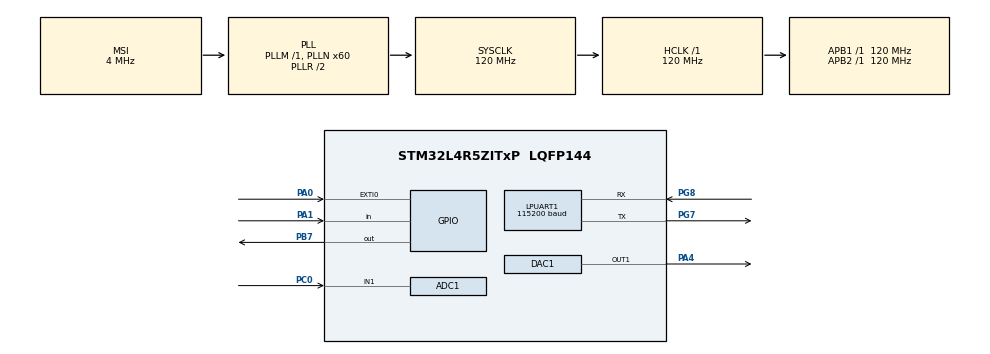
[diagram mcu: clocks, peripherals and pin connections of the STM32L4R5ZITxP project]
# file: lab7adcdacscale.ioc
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ADC1.Channel-0\#ChannelRegularConversion=ADC_CHANNEL_1
ADC1.ClockPrescaler=ADC_CLOCK_ASYNC_DIV32
ADC1.NbrOfConversionFlag=1
ADC1.OffsetNumber-0\#ChannelRegularConversion=ADC_OFFSET_NONE
ADC1.Rank-0\#ChannelRegularConversion=1
ADC1.SamplingTime-0\#ChannelRegularConversion=ADC_SAMPLETIME_640CYCLES_5
ADC1.master=1
LPUART1.BaudRate=115200
LPUART1.WordLength=UART_WORDLENGTH_8B
Mcu.Family=STM32L4
Mcu.Name=STM32L4R5ZITxP
Mcu.Package=LQFP144
NVIC.EXTI0_IRQn=true\:0\:0\:false\:false\:true\:true\:true\:true
NVIC.PriorityGroup=NVIC_PRIORITYGROUP_4
NVIC.TIM2_IRQn=true\:0\:0\:false\:false\:true\:true\:true\:true
PA0.GPIO_PuPd=GPIO_PULLDOWN
PA0.Signal=GPXTI0
PA1.GPIO_PuPd=GPIO_NOPULL
PA1.Signal=GPIO_Input
PA10.Signal=USB_OTG_FS_ID
PA13\ (JTMS/SWDIO).Signal=SYS_JTMS-SWDIO
PA14\ (JTCK/SWCLK).Signal=SYS_JTCK-SWCLK
PA3.Signal=ADCx_IN8
PA4.Signal=COMP_DAC11_group
PA5.Signal=SPI1_SCK
PA6.Signal=SPI1_MISO
PA7.Signal=SPI1_MOSI
PA8.Signal=USB_OTG_FS_SOF
PA9.Signal=USB_OTG_FS_VBUS
PB0.Signal=S_TIM3_CH3
PB1.Signal=ADCx_IN16
PB10.Signal=S_TIM2_CH3
PB12.Signal=SAI2_FS_A
PB13.Signal=SAI2_SCK_A
PB14.Signal=S_TIM15_CH1
PB15.Signal=SAI2_SD_A
PB2.Signal=COMP1_INP
PB3\ (JTDO/TRACESWO).Signal=SPI3_SCK
PB4\ (NJTRST).Signal=SPI3_MISO
PB5.Signal=SPI3_MOSI
PB6.Signal=COMP2_INP
PB7.Signal=GPIO_Output
PB8.Signal=I2C1_SCL
PB9.Signal=I2C1_SDA
PC0.Signal=ADCx_IN1
PC1.Signal=ADCx_IN2
PC10.Signal=SDMMC1_D2
PC11.Signal=SDMMC1_D3
PC12.Signal=SDMMC1_CK
PC14-OSC32_IN\ (PC14).Signal=RCC_OSC32_IN
PC15-OSC32_OUT\ (PC15).Signal=RCC_OSC32_OUT
PC2.Signal=ADCx_IN3
PC3.Signal=ADCx_IN4
PC4.Signal=ADCx_IN13
PC5.Signal=ADCx_IN14
PC6.Signal=SAI2_MCLK_A
PC7.Signal=S_TIM3_CH2
PC8.Signal=SDMMC1_D0
PC9.Signal=SDMMC1_D1
PD0.Signal=CAN1_RX
PD14.Signal=S_TIM4_CH3
PD15.Signal=S_TIM4_CH4
PD2.Signal=SDMMC1_CMD
PD3.Signal=USART2_CTS
PD4.Signal=USART2_RTS
PD5.Signal=USART2_TX
PD6.Signal=USART2_RX
PD8.Signal=USART3_TX
PD9.Signal=USART3_RX
PE0.Signal=S_TIM4_ETR
PE10.Signal=TIM1_CH2N
PE11.Signal=S_TIM1_CH2
PE12.Signal=TIM1_CH3N
PE13.Signal=S_TIM1_CH3
PE14.Signal=TIM1_BKIN2
PE15.Signal=TIM1_BKIN
PE2.Signal=SAI1_MCLK_A
PE3.Signal=SAI1_SD_B
PE7.Signal=S_TIM1_ETR
PE8.Signal=TIM1_CH1N
PE9.Signal=S_TIM1_CH1
PF0.Signal=I2C2_SDA
PF1.Signal=I2C2_SCL
PF2.Signal=I2C2_SMBA
PF7.Signal=SAI1_MCLK_B
PG7.Mode=Asynchronous
PG7.Signal=LPUART1_TX
PG8.Mode=Asynchronous
PG8.Signal=LPUART1_RX
PH0-OSC_IN\ (PH0).Signal=RCC_OSC_IN
PH1-OSC_OUT\ (PH1).Signal=RCC_OSC_OUT
ProjectManager.HeapSize=0x200
ProjectManager.StackSize=0x400
ProjectManager.TargetToolchain=STM32CubeIDE
RCC.ADCFreq_Value=32000000
RCC.AHBFreq_Value=120000000
RCC.APB1Freq_Value=120000000
RCC.APB1TimFreq_Value=120000000
RCC.APB2Freq_Value=120000000
RCC.APB2TimFreq_Value=120000000
RCC.CortexFreq_Value=120000000
RCC.HCLKFreq_Value=120000000
RCC.HSE_VALUE=8000000
RCC.HSI48_VALUE=48000000
RCC.HSI_VALUE=16000000
RCC.LSE_VALUE=32768
RCC.MSI_VALUE=4000000
RCC.PLLN=60
RCC.PLLSAI1N=16
RCC.SYSCLKFreq_VALUE=120000000
RCC.SYSCLKSource=RCC_SYSCLKSOURCE_PLLCLK
RCC.USBFreq_Value=32000000
RCC.VCOOutputFreq_Value=240000000
SH.ADCx_IN1.0=ADC1_IN1,IN1-Single-Ended
SH.ADCx_IN13.0=ADC1_IN13
SH.ADCx_IN14.0=ADC1_IN14
SH.ADCx_IN16.0=ADC1_IN16
SH.ADCx_IN2.0=ADC1_IN2
SH.ADCx_IN3.0=ADC1_IN3
SH.ADCx_IN4.0=ADC1_IN4
SH.ADCx_IN8.0=ADC1_IN8
SH.COMP_DAC11_group.0=DAC1_OUT1,DAC_OUT1
SH.S_TIM15_CH1.0=TIM15_CH1
SH.S_TIM1_CH1.0=TIM1_CH1
SH.S_TIM1_CH2.0=TIM1_CH2
SH.S_TIM1_CH3.0=TIM1_CH3
SH.S_TIM1_ETR.0=TIM1_ETR
SH.S_TIM2_CH3.0=TIM2_CH3
SH.S_TIM3_CH2.0=TIM3_CH2
SH.S_TIM3_CH3.0=TIM3_CH3
SH.S_TIM4_CH3.0=TIM4_CH3
SH.S_TIM4_CH4.0=TIM4_CH4
SH.S_TIM4_ETR.0=TIM4_ETR
TIM2.Period=90
TIM2.Prescaler=12
VP_TIM2_VS_ClockSourceINT.Mode=Internal
board=NUCLEO-L4R5ZI-P

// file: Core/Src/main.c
/* USER CODE BEGIN Header */
/**
  ******************************************************************************
  * @file           : main.c
  * @brief          : Main program body
  ******************************************************************************
  * @attention
  *
  * Copyright (c) 2022 STMicroelectronics.
  * All rights reserved.
  *
  * This software is licensed under terms that can be found in the LICENSE file
  * in the root directory of this software component.
  * If no LICENSE file comes with this software, it is provided AS-IS.
  *
  ******************************************************************************
  */
/* USER CODE END Header */
#include "main.h"

/* USER CODE BEGIN Includes */
#include <stdio.h>
#include <stdint.h>
#include <math.h>
/* USER CODE END Includes */

/* USER CODE BEGIN PM */
#define TIM2_PRSC 12
//look up table for sin wave generation
#define LUT_SIZE 100
uint16_t SIN_LUT[LUT_SIZE];
const double AMP_PCENT = 70.0; //amplitude of sine wave (0- 100)
/* USER CODE END PM */

ADC_HandleTypeDef hadc1;

DAC_HandleTypeDef hdac1;

UART_HandleTypeDef hlpuart1;

TIM_HandleTypeDef htim2;

/* USER CODE BEGIN PV */
#define C  523.25
#define B  493.88
#define Bflat  466.16
#define A  440.0
#define Aflat  415.30
#define G  391.99
#define Gflat  369.99
#define F  349.23
#define E  329.62
#define Eflat  311.12
#define D  293.66
#define Dflat  277.18

/* USER CODE END PV */

void SystemClock_Config(void);
static void MX_GPIO_Init(void);
static void MX_ADC1_Init(void);
static void MX_DAC1_Init(void);
static void MX_LPUART1_UART_Init(void);
static void MX_TIM2_Init(void);

/* USER CODE BEGIN 0 */

typedef struct {
	float freq;
	uint16_t length;
} Note;

void fill_LUT(void)
{
	//creates a sine wave look up table centered at VREF/2
	double HALF_AMP = (AMP_PCENT/ 100.0) * 2047.0;//calculates a half amplitude given the desired volume
	uint16_t i = 0;
	for(; i < LUT_SIZE; ++i)
	{
		SIN_LUT[i] = (uint16_t) ( (sin( ( (double) i) * 360.0 / ((double) LUT_SIZE)  * 3.14159265/180.0) * HALF_AMP) + 2048.0);
	}
}

//sets compare value (period) for tim2
void setComp(uint32_t newComp)
{
	HAL_TIM_Base_Stop(&htim2);
	htim2.Instance = TIM2;
	htim2.Init.Prescaler = TIM2_PRSC;
	htim2.Init.CounterMode = TIM_COUNTERMODE_UP;
	htim2.Init.Period = newComp;
	htim2.Init.ClockDivision = TIM_CLOCKDIVISION_DIV1;
	htim2.Init.AutoReloadPreload = TIM_AUTORELOAD_PRELOAD_DISABLE;
	if (HAL_TIM_Base_Init(&htim2) != HAL_OK)
	{
		Error_Handler();
	}

	HAL_TIM_Base_Start(&htim2);
}

//frequency = tim2_clk/tim2_prsclr/LUT_SIZE/tim2_prd
//desired tim2_prd = tm2_clk/tim2_prsclr/LUT_SIZE/frequency
//tim2_clk = 120 MHz, tim2_prsclr = 12, LUT_SIZE = 100
void changeNote(float frequency)
{
	if(frequency == 0.0){
		setComp((uint32_t)(frequency));
	}
	else{
		setComp((uint32_t) (120000000.0f/TIM2_PRSC/((float)LUT_SIZE)/frequency) );
	}

}

//used to iterate through the LUT
void TIM2_ISR()
{
	static uint32_t index = 0;
	HAL_DAC_SetValue(&hdac1, DAC_CHANNEL_1, DAC_ALIGN_12B_R, SIN_LUT[index]);
	++index;
	if(index > LUT_SIZE) index = 0;
}

//size 95
Note introSong [] = {
	{G, 400}, {G, 400}, {0, 200}, {G, 100}, {G, 100}, {G, 400}, {G, 400}, {G, 400},
	{F, 100}, {F, 100}, {F, 100}, {F, 100}, {F, 100}, {Gflat, 100}, {G, 400}, {G, 400},
	{0, 200}, {G, 100}, {G, 100}, {G, 400}, {G, 400}, {G, 400},
	{F, 100}, {F, 100}, {F, 100}, {F, 100}, {F, 100}, {Gflat, 100},
	{G, 800}, {B, 200}, {D*2, 800}, {0, 800},
	{A, 200}, {F*2, 800}, {E*2, 100}, {Eflat*2, 100}, {D*2, 800},
	{F, 800}, {E, 100}, {Eflat, 100}, {D, 800}, {C/2, 300}, {B/2, 300}, {C/2, 300},
	{G, 800}, {B, 200}, {D*2, 800}, {0, 800},
	{C, 200}, {F*2, 300}, {E*2, 300}, {F*2, 300}, {G*2, 800}, {Bflat*2, 200}, {G*2, 800},
	{0, 1200}, {G*2, 400}, {A*2, 400}, {Bflat*2, 800}, {F*2, 200}, {F*2, 800}, {0, 800},
	{Bflat*2, 400}, {B*2, 400}, {C*2, 800}, {G*2, 200}, {G*2, 800}, {0, 800},
	{C*2, 400}, {Dflat*4, 400}, {D*4, 400}, {D*4, 400}, {0, 400},
	{D*4, 100}, {D*4, 100}, {D*4, 400}, {D*4, 400}, {D*4, 400},
	{C*2, 100}, {C*2, 100}, {C*2, 100}, {C*2, 100}, {C*2, 100},
	{Dflat*4, 100}, {D*4, 400}, {D*4, 400}, {0, 400},
	{D*4, 100}, {D*4, 100}, {D*4, 400}, {D*4, 400}, {D*4, 400},
	{C*2, 100}, {C*2, 100}, {C*2, 100}, {C*2, 100}, {B*2, 100}, {A*2, 100}, {G*2, 800},
};

Note pokeCenter[] = {
		{E, 400}, {E, 400}, {E, 200}, {C/2, 200}, {G*2, 400},
};

Note empty[] = { {0,50} };

uint8_t currentSong = 0;
uint8_t change = 0;

void playNote(float freq, uint16_t length){
	changeNote(freq/1.5);
	HAL_Delay(length);
	changeNote(0);
	HAL_Delay(50);
}

void playSong(Note *buf, uint32_t buf_size){
	HAL_Delay(1000);
	for(int i = 0; i < buf_size; ++i){
		playNote(buf[i].freq, buf[i].length);
		if(change == 1){
			change = 0;
			return;
		}
	}
}

void HAL_GPIO_EXTI_Callback(uint16_t pin){
	if(currentSong == 0){
		currentSong = 1;
		change = 1;
	}
}
/* USER CODE END 0 */

int main(void)
{

  /* MCU Configuration--------------------------------------------------------*/

  /* Reset of all peripherals, Initializes the Flash interface and the Systick. */
  HAL_Init();

  /* Configure the system clock */
  SystemClock_Config();

  /* Initialize all configured peripherals */
  MX_GPIO_Init();
  MX_ADC1_Init();
  MX_DAC1_Init();
  MX_LPUART1_UART_Init();
  MX_TIM2_Init();
  /* USER CODE BEGIN 2 */
  fill_LUT();

    HAL_DAC_SetValue(&hdac1, DAC_CHANNEL_1, DAC_ALIGN_12B_R, 0x0);
    HAL_DAC_Start(&hdac1, DAC_CHANNEL_1);

    HAL_TIM_Base_Start_IT(&htim2);
  /* USER CODE END 2 */

  /* Infinite loop */
  /* USER CODE BEGIN WHILE */

    changeNote(0);

  while (1)
  {

	  if(HAL_GPIO_ReadPin(GPIOA, GPIO_PIN_1) == 1){
		  if(currentSong == 1){
			  playSong(pokeCenter, 5);
			  currentSong = 0;
			  change = 0;
		  }
		  else{
			  playSong(introSong, sizeof(introSong)/sizeof(introSong[0]));
		  }

	  }
	  else{
		  playSong(empty, 1);
		  currentSong = 0;
	  }

    /* USER CODE END WHILE */

  }
}

void SystemClock_Config(void)
{
  RCC_OscInitTypeDef RCC_OscInitStruct = {0};
  RCC_ClkInitTypeDef RCC_ClkInitStruct = {0};

  /** Configure the main internal regulator output voltage
  */
  if (HAL_PWREx_ControlVoltageScaling(PWR_REGULATOR_VOLTAGE_SCALE1_BOOST) != HAL_OK)
  {
    Error_Handler();
  }

  /** Initializes the RCC Oscillators according to the specified parameters
  * in the RCC_OscInitTypeDef structure.
  */
  RCC_OscInitStruct.OscillatorType = RCC_OSCILLATORTYPE_MSI;
  RCC_OscInitStruct.MSIState = RCC_MSI_ON;
  RCC_OscInitStruct.MSICalibrationValue = 0;
  RCC_OscInitStruct.MSIClockRange = RCC_MSIRANGE_6;
  RCC_OscInitStruct.PLL.PLLState = RCC_PLL_ON;
  RCC_OscInitStruct.PLL.PLLSource = RCC_PLLSOURCE_MSI;
  RCC_OscInitStruct.PLL.PLLM = 1;
  RCC_OscInitStruct.PLL.PLLN = 60;
  RCC_OscInitStruct.PLL.PLLP = RCC_PLLP_DIV2;
  RCC_OscInitStruct.PLL.PLLQ = RCC_PLLQ_DIV2;
  RCC_OscInitStruct.PLL.PLLR = RCC_PLLR_DIV2;
  if (HAL_RCC_OscConfig(&RCC_OscInitStruct) != HAL_OK)
  {
    Error_Handler();
  }

  /** Initializes the CPU, AHB and APB buses clocks
  */
  RCC_ClkInitStruct.ClockType = RCC_CLOCKTYPE_HCLK|RCC_CLOCKTYPE_SYSCLK
                              |RCC_CLOCKTYPE_PCLK1|RCC_CLOCKTYPE_PCLK2;
  RCC_ClkInitStruct.SYSCLKSource = RCC_SYSCLKSOURCE_PLLCLK;
  RCC_ClkInitStruct.AHBCLKDivider = RCC_SYSCLK_DIV1;
  RCC_ClkInitStruct.APB1CLKDivider = RCC_HCLK_DIV1;
  RCC_ClkInitStruct.APB2CLKDivider = RCC_HCLK_DIV1;

  if (HAL_RCC_ClockConfig(&RCC_ClkInitStruct, FLASH_LATENCY_5) != HAL_OK)
  {
    Error_Handler();
  }
}

static void MX_ADC1_Init(void)
{

  ADC_ChannelConfTypeDef sConfig = {0};

  /** Common config
  */
  hadc1.Instance = ADC1;
  hadc1.Init.ClockPrescaler = ADC_CLOCK_ASYNC_DIV32;
  hadc1.Init.Resolution = ADC_RESOLUTION_12B;
  hadc1.Init.DataAlign = ADC_DATAALIGN_RIGHT;
  hadc1.Init.ScanConvMode = ADC_SCAN_DISABLE;
  hadc1.Init.EOCSelection = ADC_EOC_SINGLE_CONV;
  hadc1.Init.LowPowerAutoWait = DISABLE;
  hadc1.Init.ContinuousConvMode = DISABLE;
  hadc1.Init.NbrOfConversion = 1;
  hadc1.Init.DiscontinuousConvMode = DISABLE;
  hadc1.Init.ExternalTrigConv = ADC_SOFTWARE_START;
  hadc1.Init.ExternalTrigConvEdge = ADC_EXTERNALTRIGCONVEDGE_NONE;
  hadc1.Init.DMAContinuousRequests = DISABLE;
  hadc1.Init.Overrun = ADC_OVR_DATA_PRESERVED;
  hadc1.Init.OversamplingMode = DISABLE;
  if (HAL_ADC_Init(&hadc1) != HAL_OK)
  {
    Error_Handler();
  }

  /** Configure Regular Channel
  */
  sConfig.Channel = ADC_CHANNEL_1;
  sConfig.Rank = ADC_REGULAR_RANK_1;
  sConfig.SamplingTime = ADC_SAMPLETIME_640CYCLES_5;
  sConfig.SingleDiff = ADC_SINGLE_ENDED;
  sConfig.OffsetNumber = ADC_OFFSET_NONE;
  sConfig.Offset = 0;
  if (HAL_ADC_ConfigChannel(&hadc1, &sConfig) != HAL_OK)
  {
    Error_Handler();
  }

}

static void MX_DAC1_Init(void)
{

  DAC_ChannelConfTypeDef sConfig = {0};

  /** DAC Initialization
  */
  hdac1.Instance = DAC1;
  if (HAL_DAC_Init(&hdac1) != HAL_OK)
  {
    Error_Handler();
  }

  /** DAC channel OUT1 config
  */
  sConfig.DAC_SampleAndHold = DAC_SAMPLEANDHOLD_DISABLE;
  sConfig.DAC_Trigger = DAC_TRIGGER_NONE;
  sConfig.DAC_HighFrequency = DAC_HIGH_FREQUENCY_INTERFACE_MODE_ABOVE_80MHZ;
  sConfig.DAC_OutputBuffer = DAC_OUTPUTBUFFER_ENABLE;
  sConfig.DAC_ConnectOnChipPeripheral = DAC_CHIPCONNECT_DISABLE;
  sConfig.DAC_UserTrimming = DAC_TRIMMING_FACTORY;
  if (HAL_DAC_ConfigChannel(&hdac1, &sConfig, DAC_CHANNEL_1) != HAL_OK)
  {
    Error_Handler();
  }

}

static void MX_LPUART1_UART_Init(void)
{

  hlpuart1.Instance = LPUART1;
  hlpuart1.Init.BaudRate = 115200;
  hlpuart1.Init.WordLength = UART_WORDLENGTH_8B;
  hlpuart1.Init.StopBits = UART_STOPBITS_1;
  hlpuart1.Init.Parity = UART_PARITY_NONE;
  hlpuart1.Init.Mode = UART_MODE_TX_RX;
  hlpuart1.Init.HwFlowCtl = UART_HWCONTROL_NONE;
  hlpuart1.Init.OneBitSampling = UART_ONE_BIT_SAMPLE_DISABLE;
  hlpuart1.Init.ClockPrescaler = UART_PRESCALER_DIV1;
  hlpuart1.AdvancedInit.AdvFeatureInit = UART_ADVFEATURE_NO_INIT;
  hlpuart1.FifoMode = UART_FIFOMODE_DISABLE;
  if (HAL_UART_Init(&hlpuart1) != HAL_OK)
  {
    Error_Handler();
  }
  if (HAL_UARTEx_SetTxFifoThreshold(&hlpuart1, UART_TXFIFO_THRESHOLD_1_8) != HAL_OK)
  {
    Error_Handler();
  }
  if (HAL_UARTEx_SetRxFifoThreshold(&hlpuart1, UART_RXFIFO_THRESHOLD_1_8) != HAL_OK)
  {
    Error_Handler();
  }
  if (HAL_UARTEx_DisableFifoMode(&hlpuart1) != HAL_OK)
  {
    Error_Handler();
  }

}

static void MX_TIM2_Init(void)
{

  TIM_ClockConfigTypeDef sClockSourceConfig = {0};
  TIM_MasterConfigTypeDef sMasterConfig = {0};

  htim2.Instance = TIM2;
  htim2.Init.Prescaler = 12;
  htim2.Init.CounterMode = TIM_COUNTERMODE_UP;
  htim2.Init.Period = 90;
  htim2.Init.ClockDivision = TIM_CLOCKDIVISION_DIV1;
  htim2.Init.AutoReloadPreload = TIM_AUTORELOAD_PRELOAD_DISABLE;
  if (HAL_TIM_Base_Init(&htim2) != HAL_OK)
  {
    Error_Handler();
  }
  sClockSourceConfig.ClockSource = TIM_CLOCKSOURCE_INTERNAL;
  if (HAL_TIM_ConfigClockSource(&htim2, &sClockSourceConfig) != HAL_OK)
  {
    Error_Handler();
  }
  sMasterConfig.MasterOutputTrigger = TIM_TRGO_RESET;
  sMasterConfig.MasterSlaveMode = TIM_MASTERSLAVEMODE_DISABLE;
  if (HAL_TIMEx_MasterConfigSynchronization(&htim2, &sMasterConfig) != HAL_OK)
  {
    Error_Handler();
  }

}

static void MX_GPIO_Init(void)
{
  GPIO_InitTypeDef GPIO_InitStruct = {0};

  /* GPIO Ports Clock Enable */
  __HAL_RCC_GPIOE_CLK_ENABLE();
  __HAL_RCC_GPIOC_CLK_ENABLE();
  __HAL_RCC_GPIOF_CLK_ENABLE();
  __HAL_RCC_GPIOH_CLK_ENABLE();
  __HAL_RCC_GPIOA_CLK_ENABLE();
  __HAL_RCC_GPIOB_CLK_ENABLE();
  __HAL_RCC_GPIOD_CLK_ENABLE();
  __HAL_RCC_GPIOG_CLK_ENABLE();
  HAL_PWREx_EnableVddIO2();

  /*Configure GPIO pin Output Level */
  HAL_GPIO_WritePin(GPIOB, GPIO_PIN_7, GPIO_PIN_RESET);

  /*Configure GPIO pins : PE2 PE3 */
  GPIO_InitStruct.Pin = GPIO_PIN_2|GPIO_PIN_3;
  GPIO_InitStruct.Mode = GPIO_MODE_AF_PP;
  GPIO_InitStruct.Pull = GPIO_NOPULL;
  GPIO_InitStruct.Speed = GPIO_SPEED_FREQ_LOW;
  GPIO_InitStruct.Alternate = GPIO_AF13_SAI1;
  HAL_GPIO_Init(GPIOE, &GPIO_InitStruct);

  /*Configure GPIO pins : PF0 PF1 PF2 */
  GPIO_InitStruct.Pin = GPIO_PIN_0|GPIO_PIN_1|GPIO_PIN_2;
  GPIO_InitStruct.Mode = GPIO_MODE_AF_OD;
  GPIO_InitStruct.Pull = GPIO_NOPULL;
  GPIO_InitStruct.Speed = GPIO_SPEED_FREQ_VERY_HIGH;
  GPIO_InitStruct.Alternate = GPIO_AF4_I2C2;
  HAL_GPIO_Init(GPIOF, &GPIO_InitStruct);

  /*Configure GPIO pin : PF7 */
  GPIO_InitStruct.Pin = GPIO_PIN_7;
  GPIO_InitStruct.Mode = GPIO_MODE_AF_PP;
  GPIO_InitStruct.Pull = GPIO_NOPULL;
  GPIO_InitStruct.Speed = GPIO_SPEED_FREQ_LOW;
  GPIO_InitStruct.Alternate = GPIO_AF13_SAI1;
  HAL_GPIO_Init(GPIOF, &GPIO_InitStruct);

  /*Configure GPIO pin : PA0 */
  GPIO_InitStruct.Pin = GPIO_PIN_0;
  GPIO_InitStruct.Mode = GPIO_MODE_IT_RISING;
  GPIO_InitStruct.Pull = GPIO_PULLDOWN;
  HAL_GPIO_Init(GPIOA, &GPIO_InitStruct);

  /*Configure GPIO pin : PA1 */
  GPIO_InitStruct.Pin = GPIO_PIN_1;
  GPIO_InitStruct.Mode = GPIO_MODE_INPUT;
  GPIO_InitStruct.Pull = GPIO_NOPULL;
  HAL_GPIO_Init(GPIOA, &GPIO_InitStruct);

  /*Configure GPIO pins : PA5 PA6 PA7 */
  GPIO_InitStruct.Pin = GPIO_PIN_5|GPIO_PIN_6|GPIO_PIN_7;
  GPIO_InitStruct.Mode = GPIO_MODE_AF_PP;
  GPIO_InitStruct.Pull = GPIO_NOPULL;
  GPIO_InitStruct.Speed = GPIO_SPEED_FREQ_VERY_HIGH;
  GPIO_InitStruct.Alternate = GPIO_AF5_SPI1;
  HAL_GPIO_Init(GPIOA, &GPIO_InitStruct);

  /*Configure GPIO pin : PB0 */
  GPIO_InitStruct.Pin = GPIO_PIN_0;
  GPIO_InitStruct.Mode = GPIO_MODE_AF_PP;
  GPIO_InitStruct.Pull = GPIO_NOPULL;
  GPIO_InitStruct.Speed = GPIO_SPEED_FREQ_LOW;
  GPIO_InitStruct.Alternate = GPIO_AF2_TIM3;
  HAL_GPIO_Init(GPIOB, &GPIO_InitStruct);

  /*Configure GPIO pins : PB2 PB6 */
  GPIO_InitStruct.Pin = GPIO_PIN_2|GPIO_PIN_6;
  GPIO_InitStruct.Mode = GPIO_MODE_ANALOG;
  GPIO_InitStruct.Pull = GPIO_NOPULL;
  HAL_GPIO_Init(GPIOB, &GPIO_InitStruct);

  /*Configure GPIO pins : PE7 PE8 PE9 PE10
                           PE11 PE12 PE13 */
  GPIO_InitStruct.Pin = GPIO_PIN_7|GPIO_PIN_8|GPIO_PIN_9|GPIO_PIN_10
                          |GPIO_PIN_11|GPIO_PIN_12|GPIO_PIN_13;
  GPIO_InitStruct.Mode = GPIO_MODE_AF_PP;
  GPIO_InitStruct.Pull = GPIO_NOPULL;
  GPIO_InitStruct.Speed = GPIO_SPEED_FREQ_LOW;
  GPIO_InitStruct.Alternate = GPIO_AF1_TIM1;
  HAL_GPIO_Init(GPIOE, &GPIO_InitStruct);

  /*Configure GPIO pins : PE14 PE15 */
  GPIO_InitStruct.Pin = GPIO_PIN_14|GPIO_PIN_15;
  GPIO_InitStruct.Mode = GPIO_MODE_AF_PP;
  GPIO_InitStruct.Pull = GPIO_NOPULL;
  GPIO_InitStruct.Speed = GPIO_SPEED_FREQ_LOW;
  GPIO_InitStruct.Alternate = GPIO_AF3_TIM1_COMP1;
  HAL_GPIO_Init(GPIOE, &GPIO_InitStruct);

  /*Configure GPIO pins : PB12 PB13 PB15 */
  GPIO_InitStruct.Pin = GPIO_PIN_12|GPIO_PIN_13|GPIO_PIN_15;
  GPIO_InitStruct.Mode = GPIO_MODE_AF_PP;
  GPIO_InitStruct.Pull = GPIO_NOPULL;
  GPIO_InitStruct.Speed = GPIO_SPEED_FREQ_LOW;
  GPIO_InitStruct.Alternate = GPIO_AF13_SAI2;
  HAL_GPIO_Init(GPIOB, &GPIO_InitStruct);

  /*Configure GPIO pin : PB14 */
  GPIO_InitStruct.Pin = GPIO_PIN_14;
  GPIO_InitStruct.Mode = GPIO_MODE_AF_PP;
  GPIO_InitStruct.Pull = GPIO_NOPULL;
  GPIO_InitStruct.Speed = GPIO_SPEED_FREQ_LOW;
  GPIO_InitStruct.Alternate = GPIO_AF14_TIM15;
  HAL_GPIO_Init(GPIOB, &GPIO_InitStruct);

  /*Configure GPIO pins : PD8 PD9 */
  GPIO_InitStruct.Pin = GPIO_PIN_8|GPIO_PIN_9;
  GPIO_InitStruct.Mode = GPIO_MODE_AF_PP;
  GPIO_InitStruct.Pull = GPIO_NOPULL;
  GPIO_InitStruct.Speed = GPIO_SPEED_FREQ_VERY_HIGH;
  GPIO_InitStruct.Alternate = GPIO_AF7_USART3;
  HAL_GPIO_Init(GPIOD, &GPIO_InitStruct);

  /*Configure GPIO pins : PD14 PD15 */
  GPIO_InitStruct.Pin = GPIO_PIN_14|GPIO_PIN_15;
  GPIO_InitStruct.Mode = GPIO_MODE_AF_PP;
  GPIO_InitStruct.Pull = GPIO_NOPULL;
  GPIO_InitStruct.Speed = GPIO_SPEED_FREQ_LOW;
  GPIO_InitStruct.Alternate = GPIO_AF2_TIM4;
  HAL_GPIO_Init(GPIOD, &GPIO_InitStruct);

  /*Configure GPIO pin : PC6 */
  GPIO_InitStruct.Pin = GPIO_PIN_6;
  GPIO_InitStruct.Mode = GPIO_MODE_AF_PP;
  GPIO_InitStruct.Pull = GPIO_NOPULL;
  GPIO_InitStruct.Speed = GPIO_SPEED_FREQ_LOW;
  GPIO_InitStruct.Alternate = GPIO_AF13_SAI2;
  HAL_GPIO_Init(GPIOC, &GPIO_InitStruct);

  /*Configure GPIO pin : PC7 */
  GPIO_InitStruct.Pin = GPIO_PIN_7;
  GPIO_InitStruct.Mode = GPIO_MODE_AF_PP;
  GPIO_InitStruct.Pull = GPIO_NOPULL;
  GPIO_InitStruct.Speed = GPIO_SPEED_FREQ_LOW;
  GPIO_InitStruct.Alternate = GPIO_AF2_TIM3;
  HAL_GPIO_Init(GPIOC, &GPIO_InitStruct);

  /*Configure GPIO pins : PC8 PC9 PC10 PC11
                           PC12 */
  GPIO_InitStruct.Pin = GPIO_PIN_8|GPIO_PIN_9|GPIO_PIN_10|GPIO_PIN_11
                          |GPIO_PIN_12;
  GPIO_InitStruct.Mode = GPIO_MODE_AF_PP;
  GPIO_InitStruct.Pull = GPIO_NOPULL;
  GPIO_InitStruct.Speed = GPIO_SPEED_FREQ_VERY_HIGH;
  GPIO_InitStruct.Alternate = GPIO_AF12_SDMMC1;
  HAL_GPIO_Init(GPIOC, &GPIO_InitStruct);

  /*Configure GPIO pins : PA8 PA10 */
  GPIO_InitStruct.Pin = GPIO_PIN_8|GPIO_PIN_10;
  GPIO_InitStruct.Mode = GPIO_MODE_AF_PP;
  GPIO_InitStruct.Pull = GPIO_NOPULL;
  GPIO_InitStruct.Speed = GPIO_SPEED_FREQ_VERY_HIGH;
  GPIO_InitStruct.Alternate = GPIO_AF10_OTG_FS;
  HAL_GPIO_Init(GPIOA, &GPIO_InitStruct);

  /*Configure GPIO pin : PA9 */
  GPIO_InitStruct.Pin = GPIO_PIN_9;
  GPIO_InitStruct.Mode = GPIO_MODE_INPUT;
  GPIO_InitStruct.Pull = GPIO_NOPULL;
  HAL_GPIO_Init(GPIOA, &GPIO_InitStruct);

  /*Configure GPIO pin : PD0 */
  GPIO_InitStruct.Pin = GPIO_PIN_0;
  GPIO_InitStruct.Mode = GPIO_MODE_AF_PP;
  GPIO_InitStruct.Pull = GPIO_NOPULL;
  GPIO_InitStruct.Speed = GPIO_SPEED_FREQ_VERY_HIGH;
  GPIO_InitStruct.Alternate = GPIO_AF9_CAN1;
  HAL_GPIO_Init(GPIOD, &GPIO_InitStruct);

  /*Configure GPIO pin : PD2 */
  GPIO_InitStruct.Pin = GPIO_PIN_2;
  GPIO_InitStruct.Mode = GPIO_MODE_AF_PP;
  GPIO_InitStruct.Pull = GPIO_NOPULL;
  GPIO_InitStruct.Speed = GPIO_SPEED_FREQ_VERY_HIGH;
  GPIO_InitStruct.Alternate = GPIO_AF12_SDMMC1;
  HAL_GPIO_Init(GPIOD, &GPIO_InitStruct);

  /*Configure GPIO pins : PD3 PD4 PD5 PD6 */
  GPIO_InitStruct.Pin = GPIO_PIN_3|GPIO_PIN_4|GPIO_PIN_5|GPIO_PIN_6;
  GPIO_InitStruct.Mode = GPIO_MODE_AF_PP;
  GPIO_InitStruct.Pull = GPIO_NOPULL;
  GPIO_InitStruct.Speed = GPIO_SPEED_FREQ_VERY_HIGH;
  GPIO_InitStruct.Alternate = GPIO_AF7_USART2;
  HAL_GPIO_Init(GPIOD, &GPIO_InitStruct);

  /*Configure GPIO pins : PB3 PB4 PB5 */
  GPIO_InitStruct.Pin = GPIO_PIN_3|GPIO_PIN_4|GPIO_PIN_5;
  GPIO_InitStruct.Mode = GPIO_MODE_AF_PP;
  GPIO_InitStruct.Pull = GPIO_NOPULL;
  GPIO_InitStruct.Speed = GPIO_SPEED_FREQ_VERY_HIGH;
  GPIO_InitStruct.Alternate = GPIO_AF6_SPI3;
  HAL_GPIO_Init(GPIOB, &GPIO_InitStruct);

  /*Configure GPIO pin : PB7 */
  GPIO_InitStruct.Pin = GPIO_PIN_7;
  GPIO_InitStruct.Mode = GPIO_MODE_OUTPUT_PP;
  GPIO_InitStruct.Pull = GPIO_NOPULL;
  GPIO_InitStruct.Speed = GPIO_SPEED_FREQ_LOW;
  HAL_GPIO_Init(GPIOB, &GPIO_InitStruct);

  /*Configure GPIO pins : PB8 PB9 */
  GPIO_InitStruct.Pin = GPIO_PIN_8|GPIO_PIN_9;
  GPIO_InitStruct.Mode = GPIO_MODE_AF_OD;
  GPIO_InitStruct.Pull = GPIO_NOPULL;
  GPIO_InitStruct.Speed = GPIO_SPEED_FREQ_VERY_HIGH;
  GPIO_InitStruct.Alternate = GPIO_AF4_I2C1;
  HAL_GPIO_Init(GPIOB, &GPIO_InitStruct);

  /*Configure GPIO pin : PE0 */
  GPIO_InitStruct.Pin = GPIO_PIN_0;
  GPIO_InitStruct.Mode = GPIO_MODE_AF_PP;
  GPIO_InitStruct.Pull = GPIO_NOPULL;
  GPIO_InitStruct.Speed = GPIO_SPEED_FREQ_LOW;
  GPIO_InitStruct.Alternate = GPIO_AF2_TIM4;
  HAL_GPIO_Init(GPIOE, &GPIO_InitStruct);

  /* EXTI interrupt init*/
  HAL_NVIC_SetPriority(EXTI0_IRQn, 0, 0);
  HAL_NVIC_EnableIRQ(EXTI0_IRQn);

}

void Error_Handler(void)
{
  __disable_irq();
  while (1)
  {
  }
}
